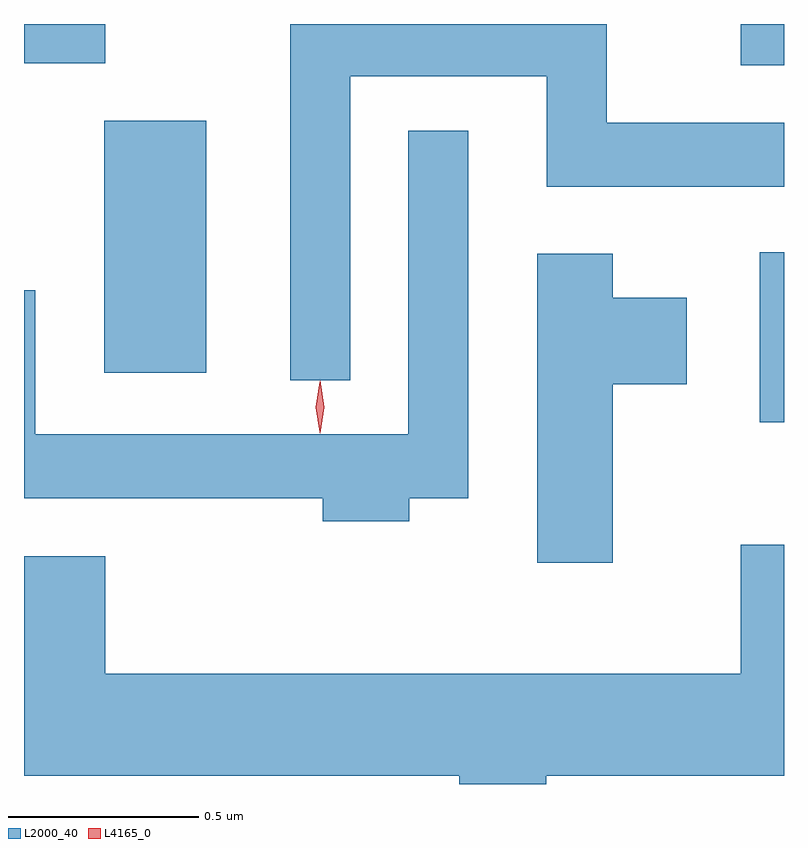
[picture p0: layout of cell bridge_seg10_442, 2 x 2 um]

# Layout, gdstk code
import gdstk
lib = gdstk.Library(unit=1e-6, precision=1e-09)
def R(c, l, rs):  # rectangles x0, y0, x1, y1
    for r in rs: c.add(gdstk.rectangle(r[:2], r[2:], *l))
def P(c, l, *ps):  # polygons
    for p in ps: c.add(gdstk.Polygon(p, *l))
L2000_40 = (2000, 40)
L4165_0 = (4165, 0)

bridge_seg10_442 = lib.new_cell('bridge_seg10_442')
R(bridge_seg10_442, L2000_40, [(1442.431,2085.986,1442.495,2086.434), (1440.706,2086.116,1440.974,2086.779), (1442.381,2086.926,1442.495,2087.034), (1440.495,2086.931,1440.709,2087.034)])
P(bridge_seg10_442, L2000_40, [(1441.354,2086.896),(1441.871,2086.896),(1441.871,2086.606),(1442.495,2086.606),(1442.495,2086.774),(1442.029,2086.774),(1442.029,2087.034),(1441.196,2087.034),(1441.196,2086.097),(1441.354,2086.097)],
  [(1441.509,2085.786),(1441.664,2085.786),(1441.664,2086.753),(1441.506,2086.753),(1441.506,2085.954),(1440.524,2085.954),(1440.524,2086.333),(1440.495,2086.333),(1440.495,2085.786),(1441.281,2085.786),(1441.281,2085.726),(1441.509,2085.726)],
  [(1442.044,2086.086),(1442.239,2086.086),(1442.239,2086.314),(1442.044,2086.314),(1442.044,2086.429),(1441.846,2086.429),(1441.846,2085.616),(1442.044,2085.616)],
  [(1441.869,2085.056),(1442.495,2085.056),(1442.495,2085.664),(1442.381,2085.664),(1442.381,2085.324),(1440.709,2085.324),(1440.709,2085.634),(1440.495,2085.634),(1440.495,2085.056),(1441.641,2085.056),(1441.641,2085.034),(1441.869,2085.034)])
P(bridge_seg10_442, L4165_0, [(1441.274,2085.957),(1441.265,2086.026),(1441.274,2086.096),(1441.275,2086.096),(1441.275,2086.096),(1441.285,2086.026),(1441.275,2085.957),(1441.275,2085.957)],
  [(1441.273,2085.959),(1441.273,2085.96),(1441.263,2086.026),(1441.273,2086.092),(1441.273,2086.093),(1441.274,2086.092),(1441.283,2086.026),(1441.274,2085.96)])

lib.write_gds('bridge_seg10_442.gds')
